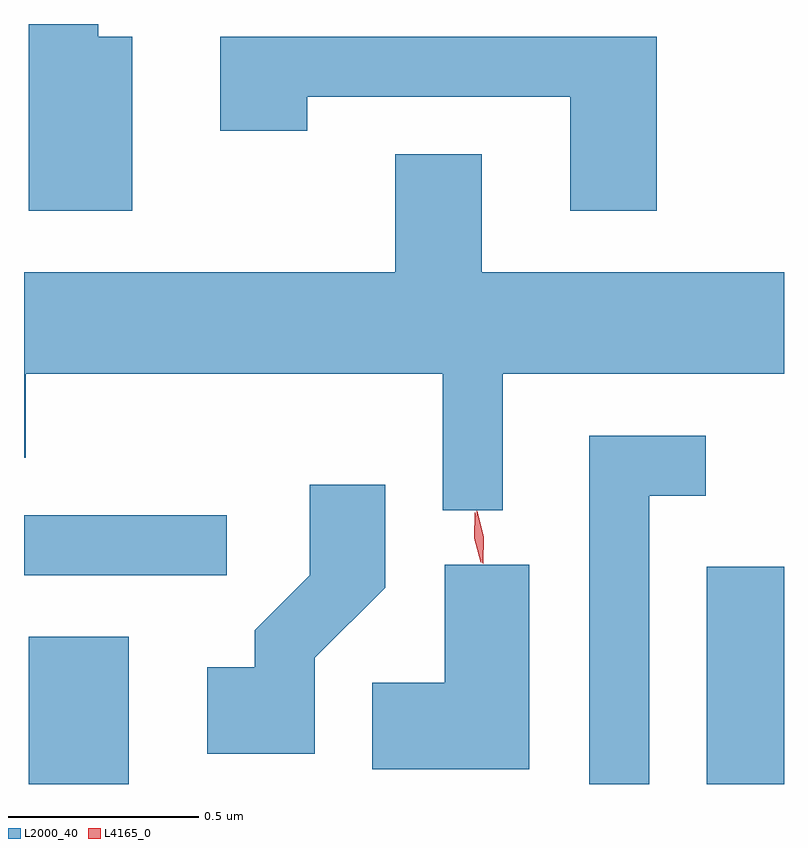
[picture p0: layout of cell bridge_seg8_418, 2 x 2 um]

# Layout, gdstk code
import gdstk
lib = gdstk.Library(unit=1e-6, precision=1e-09)
def R(c, l, rs):  # rectangles x0, y0, x1, y1
    for r in rs: c.add(gdstk.rectangle(r[:2], r[2:], *l))
def P(c, l, *ps):  # polygons
    for p in ps: c.add(gdstk.Polygon(p, *l))
L2000_40 = (2000, 40)
L4165_0 = (4165, 0)

bridge_seg8_418 = lib.new_cell('bridge_seg8_418')
R(bridge_seg8_418, L2000_40, [(695.186,1822.017,695.449,1822.404), (696.971,1822.017,697.174,1822.589), (695.174,1822.566,695.708,1822.724)])
P(bridge_seg8_418, L2000_40, [(695.459,1823.984),(695.369,1823.984),(695.369,1824.017),(695.186,1824.017),(695.186,1823.526),(695.459,1823.526)],
  [(696.839,1823.984),(695.691,1823.984),(695.691,1823.736),(695.919,1823.736),(695.919,1823.826),(696.611,1823.826),(696.611,1823.526),(696.839,1823.526)],
  [(696.434,1823.096),(697.174,1823.096),(697.174,1823.364),(696.379,1823.364),(696.379,1823.674),(696.151,1823.674),(696.151,1823.364),(695.174,1823.364),(695.174,1822.876),(695.179,1822.876),(695.179,1823.096),(696.276,1823.096),(696.276,1822.738),(696.434,1822.738)],
  [(696.819,1822.776),(696.968,1822.776),(696.968,1822.934),(696.661,1822.934),(696.661,1822.017),(696.819,1822.017)],
  [(695.939,1822.349),(696.124,1822.534),(696.124,1822.804),(695.926,1822.804),(695.926,1822.567),(695.781,1822.422),(695.781,1822.324),(695.656,1822.324),(695.656,1822.096),(695.939,1822.096)],
  [(696.504,1822.594),(696.281,1822.594),(696.281,1822.284),(696.091,1822.284),(696.091,1822.056),(696.504,1822.056)])
P(bridge_seg8_418, L4165_0, [(696.382,1822.597),(696.381,1822.598),(696.364,1822.665),(696.366,1822.735),(696.366,1822.736),(696.367,1822.735),(696.384,1822.668),(696.382,1822.598)],
  [(696.376,1822.6),(696.376,1822.6),(696.359,1822.664),(696.36,1822.731),(696.361,1822.732),(696.361,1822.731),(696.379,1822.667),(696.377,1822.6)])

lib.write_gds('bridge_seg8_418.gds')
